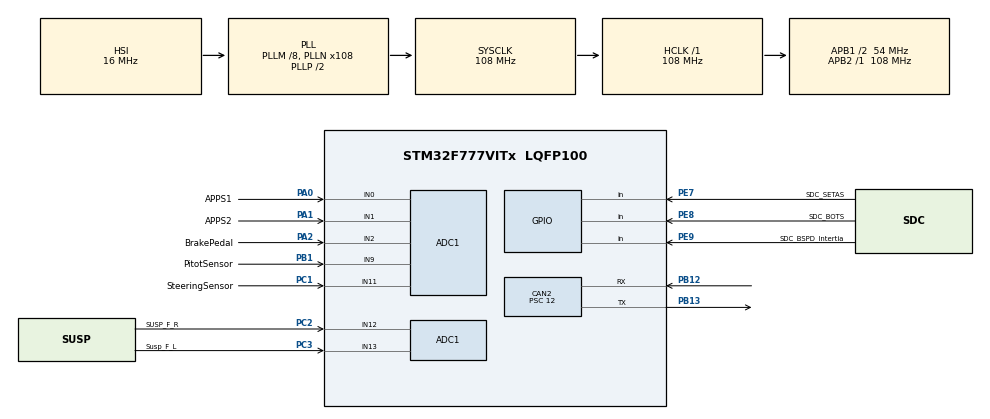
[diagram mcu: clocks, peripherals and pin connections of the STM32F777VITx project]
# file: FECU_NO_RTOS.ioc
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ADC1.Channel-0\#ChannelRegularConversion=ADC_CHANNEL_0
ADC1.Channel-1\#ChannelRegularConversion=ADC_CHANNEL_0
ADC1.Channel-2\#ChannelRegularConversion=ADC_CHANNEL_0
ADC1.Channel-3\#ChannelRegularConversion=ADC_CHANNEL_0
ADC1.Channel-4\#ChannelRegularConversion=ADC_CHANNEL_0
ADC1.Channel-5\#ChannelRegularConversion=ADC_CHANNEL_0
ADC1.Channel-6\#ChannelRegularConversion=ADC_CHANNEL_0
ADC1.ContinuousConvMode=ENABLE
ADC1.DiscontinuousConvMode=DISABLE
ADC1.NbrOfConversion=7
ADC1.NbrOfConversionFlag=1
ADC1.Rank-0\#ChannelRegularConversion=1
ADC1.Rank-1\#ChannelRegularConversion=2
ADC1.Rank-2\#ChannelRegularConversion=3
ADC1.Rank-3\#ChannelRegularConversion=4
ADC1.Rank-4\#ChannelRegularConversion=5
ADC1.Rank-5\#ChannelRegularConversion=6
ADC1.Rank-6\#ChannelRegularConversion=7
ADC1.SamplingTime-0\#ChannelRegularConversion=ADC_SAMPLETIME_3CYCLES
ADC1.SamplingTime-1\#ChannelRegularConversion=ADC_SAMPLETIME_3CYCLES
ADC1.SamplingTime-2\#ChannelRegularConversion=ADC_SAMPLETIME_3CYCLES
ADC1.SamplingTime-3\#ChannelRegularConversion=ADC_SAMPLETIME_3CYCLES
ADC1.SamplingTime-4\#ChannelRegularConversion=ADC_SAMPLETIME_3CYCLES
ADC1.SamplingTime-5\#ChannelRegularConversion=ADC_SAMPLETIME_3CYCLES
ADC1.SamplingTime-6\#ChannelRegularConversion=ADC_SAMPLETIME_3CYCLES
ADC1.ScanConvMode=ADC_SCAN_ENABLE
ADC1.master=1
CAN2.BS1=CAN_BS1_6TQ
CAN2.BS2=CAN_BS2_2TQ
CAN2.CalculateBaudRate=500000
CAN2.CalculateTimeBit=2000
CAN2.CalculateTimeQuantum=222.22222222222223
CAN2.Prescaler=12
CORTEX_M7.default_mode_Activation=1
Mcu.Family=STM32F7
Mcu.Name=STM32F777VITx
Mcu.Package=LQFP100
NVIC.CAN2_RX0_IRQn=true\:0\:0\:false\:false\:true\:true\:true\:true
NVIC.PriorityGroup=NVIC_PRIORITYGROUP_4
PA0/WKUP.GPIO_Label=APPS1
PA0/WKUP.Signal=ADCx_IN0
PA1.GPIO_Label=APPS2
PA1.Signal=ADCx_IN1
PA2.GPIO_Label=BrakePedal
PA2.Signal=ADCx_IN2
PB1.GPIO_Label=PitotSensor
PB1.Signal=ADCx_IN9
PB12.Mode=CAN_Activate
PB12.Signal=CAN2_RX
PB13.Mode=CAN_Activate
PB13.Signal=CAN2_TX
PC1.GPIO_Label=SteeringSensor
PC1.Signal=ADCx_IN11
PC2.GPIO_Label=SUSP_F_R
PC2.Signal=ADCx_IN12
PC3.GPIO_Label=Susp_F_L
PC3.Signal=ADCx_IN13
PE7.GPIO_Label=SDC_SETAS
PE7.Signal=GPIO_Input
PE8.GPIO_Label=SDC_BOTS
PE8.Signal=GPIO_Input
PE9.GPIO_Label=SDC_BSPD_Intertia
PE9.Signal=GPIO_Input
ProjectManager.HeapSize=0x200
ProjectManager.StackSize=0x400
ProjectManager.TargetToolchain=STM32CubeIDE
RCC.AHBFreq_Value=108000000
RCC.APB1CLKDivider=RCC_HCLK_DIV2
RCC.APB1Freq_Value=54000000
RCC.APB1TimFreq_Value=108000000
RCC.APB2Freq_Value=108000000
RCC.APB2TimFreq_Value=108000000
RCC.CortexFreq_Value=108000000
RCC.HCLKFreq_Value=108000000
RCC.HSE_VALUE=25000000
RCC.HSI_VALUE=16000000
RCC.LSE_VALUE=32768
RCC.PLLM=8
RCC.PLLN=108
RCC.SYSCLKFreq_VALUE=108000000
RCC.SYSCLKSource=RCC_SYSCLKSOURCE_PLLCLK
RCC.USBFreq_Value=108000000
RCC.VCOOutputFreq_Value=216000000
SH.ADCx_IN0.0=ADC1_IN0,IN0
SH.ADCx_IN1.0=ADC1_IN1,IN1
SH.ADCx_IN11.0=ADC1_IN11,IN11
SH.ADCx_IN12.0=ADC1_IN12,IN12
SH.ADCx_IN13.0=ADC1_IN13,IN13
SH.ADCx_IN2.0=ADC1_IN2,IN2
SH.ADCx_IN9.0=ADC1_IN9,IN9
board=custom

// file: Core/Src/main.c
/* USER CODE BEGIN Header */
/**
  ******************************************************************************
  * @file           : main.c
  * @brief          : Main program body
  ******************************************************************************
  * @attention
  *
  * Copyright (c) 2024 STMicroelectronics.
  * All rights reserved.
  *
  * This software is licensed under terms that can be found in the LICENSE file
  * in the root directory of this software component.
  * If no LICENSE file comes with this software, it is provided AS-IS.
  *
  ******************************************************************************
  */
/* USER CODE END Header */
#include "main.h"
#include "eTechRacingADC.h"
#include "eTechRacing_Filters.h"
#include "stdint.h"

ADC_HandleTypeDef hadc1;

CAN_HandleTypeDef hcan2;

void SystemClock_Config(void);
static void MPU_Config(void);
static void MX_GPIO_Init(void);
static void MX_ADC1_Init(void);
static void MX_CAN2_Init(void);

/* USER CODE BEGIN 0 */
uint16_t APPS1;
uint16_t APPS2;
uint16_t BrakePedal;
uint16_t SteeringSensor;
uint16_t Susp_F_R;
uint16_t Susp_F_L;
uint16_t PitotSensor;

filtreLP_struct FECULowPass = {
     .fc = 1.0,  // Cutoff frequency in kHz
     .Ts = 0.001,  // Sampling time in seconds
     .alfa = 0.0,  // Filter coefficient (will be initialized)
     .in = 0.0,  // Initial input value
     .out = 0.0,  // Initial output value
     .enable = 1  // Enable the filter
 };

/* USER CODE END 0 */

int main(void)
{

  /* MPU Configuration--------------------------------------------------------*/
  MPU_Config();

  /* MCU Configuration--------------------------------------------------------*/

  /* Reset of all peripherals, Initializes the Flash interface and the Systick. */
  HAL_Init();

  /* Configure the system clock */
  SystemClock_Config();

  /* Initialize all configured peripherals */
  MX_GPIO_Init();
  MX_ADC1_Init();
  MX_CAN2_Init();
  /* USER CODE BEGIN 2 */

  filtreLP_init(&FECULowPass);

  /* USER CODE END 2 */

  /* Infinite loop */
  while (1)
  {
	  APPS1 = ADC_Measure(hadc1, 0);
	  APPS1 = applyLowPassFilter(APPS1, &FECULowPass);

	  APPS2 = ADC_Measure(hadc1, 1);
	  APPS2 = applyLowPassFilter(APPS2, &FECULowPass);

	  BrakePedal = ADC_Measure(hadc1, 2);
	  BrakePedal = applyLowPassFilter(BrakePedal, &FECULowPass);

	  SteeringSensor = ADC_Measure(hadc1, 11);
	  SteeringSensor = applyLowPassFilter(SteeringSensor, &FECULowPass);

	  Susp_F_R = ADC_Measure(hadc1, 12);
	  Susp_F_R = applyLowPassFilter(Susp_F_L, &FECULowPass);

	  Susp_F_L = ADC_Measure(hadc1, 13);
	  Susp_F_L = applyLowPassFilter(Susp_F_L, &FECULowPass);

	  PitotSensor = ADC_Measure(hadc1, 9);
	  PitotSensor = applyLowPassFilter(PitotSensor, &FECULowPass);

  }
}

void SystemClock_Config(void)
{
  RCC_OscInitTypeDef RCC_OscInitStruct = {0};
  RCC_ClkInitTypeDef RCC_ClkInitStruct = {0};

  /** Configure the main internal regulator output voltage
  */
  __HAL_RCC_PWR_CLK_ENABLE();
  __HAL_PWR_VOLTAGESCALING_CONFIG(PWR_REGULATOR_VOLTAGE_SCALE3);

  /** Initializes the RCC Oscillators according to the specified parameters
  * in the RCC_OscInitTypeDef structure.
  */
  RCC_OscInitStruct.OscillatorType = RCC_OSCILLATORTYPE_HSI;
  RCC_OscInitStruct.HSIState = RCC_HSI_ON;
  RCC_OscInitStruct.HSICalibrationValue = RCC_HSICALIBRATION_DEFAULT;
  RCC_OscInitStruct.PLL.PLLState = RCC_PLL_ON;
  RCC_OscInitStruct.PLL.PLLSource = RCC_PLLSOURCE_HSI;
  RCC_OscInitStruct.PLL.PLLM = 8;
  RCC_OscInitStruct.PLL.PLLN = 108;
  RCC_OscInitStruct.PLL.PLLP = RCC_PLLP_DIV2;
  RCC_OscInitStruct.PLL.PLLQ = 2;
  RCC_OscInitStruct.PLL.PLLR = 2;
  if (HAL_RCC_OscConfig(&RCC_OscInitStruct) != HAL_OK)
  {
    Error_Handler();
  }

  /** Activate the Over-Drive mode
  */
  if (HAL_PWREx_EnableOverDrive() != HAL_OK)
  {
    Error_Handler();
  }

  /** Initializes the CPU, AHB and APB buses clocks
  */
  RCC_ClkInitStruct.ClockType = RCC_CLOCKTYPE_HCLK|RCC_CLOCKTYPE_SYSCLK
                              |RCC_CLOCKTYPE_PCLK1|RCC_CLOCKTYPE_PCLK2;
  RCC_ClkInitStruct.SYSCLKSource = RCC_SYSCLKSOURCE_PLLCLK;
  RCC_ClkInitStruct.AHBCLKDivider = RCC_SYSCLK_DIV1;
  RCC_ClkInitStruct.APB1CLKDivider = RCC_HCLK_DIV2;
  RCC_ClkInitStruct.APB2CLKDivider = RCC_HCLK_DIV1;

  if (HAL_RCC_ClockConfig(&RCC_ClkInitStruct, FLASH_LATENCY_3) != HAL_OK)
  {
    Error_Handler();
  }
}

static void MX_ADC1_Init(void)
{

  ADC_ChannelConfTypeDef sConfig = {0};

  /** Configure the global features of the ADC (Clock, Resolution, Data Alignment and number of conversion)
  */
  hadc1.Instance = ADC1;
  hadc1.Init.ClockPrescaler = ADC_CLOCK_SYNC_PCLK_DIV4;
  hadc1.Init.Resolution = ADC_RESOLUTION_12B;
  hadc1.Init.ScanConvMode = ADC_SCAN_ENABLE;
  hadc1.Init.ContinuousConvMode = ENABLE;
  hadc1.Init.DiscontinuousConvMode = DISABLE;
  hadc1.Init.ExternalTrigConvEdge = ADC_EXTERNALTRIGCONVEDGE_NONE;
  hadc1.Init.ExternalTrigConv = ADC_SOFTWARE_START;
  hadc1.Init.DataAlign = ADC_DATAALIGN_RIGHT;
  hadc1.Init.NbrOfConversion = 7;
  hadc1.Init.DMAContinuousRequests = DISABLE;
  hadc1.Init.EOCSelection = ADC_EOC_SINGLE_CONV;
  if (HAL_ADC_Init(&hadc1) != HAL_OK)
  {
    Error_Handler();
  }

  /** Configure for the selected ADC regular channel its corresponding rank in the sequencer and its sample time.
  */
  sConfig.Channel = ADC_CHANNEL_0;
  sConfig.Rank = ADC_REGULAR_RANK_1;
  sConfig.SamplingTime = ADC_SAMPLETIME_3CYCLES;
  if (HAL_ADC_ConfigChannel(&hadc1, &sConfig) != HAL_OK)
  {
    Error_Handler();
  }

  /** Configure for the selected ADC regular channel its corresponding rank in the sequencer and its sample time.
  */
  sConfig.Rank = ADC_REGULAR_RANK_2;
  if (HAL_ADC_ConfigChannel(&hadc1, &sConfig) != HAL_OK)
  {
    Error_Handler();
  }

  /** Configure for the selected ADC regular channel its corresponding rank in the sequencer and its sample time.
  */
  sConfig.Rank = ADC_REGULAR_RANK_3;
  if (HAL_ADC_ConfigChannel(&hadc1, &sConfig) != HAL_OK)
  {
    Error_Handler();
  }

  /** Configure for the selected ADC regular channel its corresponding rank in the sequencer and its sample time.
  */
  sConfig.Rank = ADC_REGULAR_RANK_4;
  if (HAL_ADC_ConfigChannel(&hadc1, &sConfig) != HAL_OK)
  {
    Error_Handler();
  }

  /** Configure for the selected ADC regular channel its corresponding rank in the sequencer and its sample time.
  */
  sConfig.Rank = ADC_REGULAR_RANK_5;
  if (HAL_ADC_ConfigChannel(&hadc1, &sConfig) != HAL_OK)
  {
    Error_Handler();
  }

  /** Configure for the selected ADC regular channel its corresponding rank in the sequencer and its sample time.
  */
  sConfig.Rank = ADC_REGULAR_RANK_6;
  if (HAL_ADC_ConfigChannel(&hadc1, &sConfig) != HAL_OK)
  {
    Error_Handler();
  }

  /** Configure for the selected ADC regular channel its corresponding rank in the sequencer and its sample time.
  */
  sConfig.Rank = ADC_REGULAR_RANK_7;
  if (HAL_ADC_ConfigChannel(&hadc1, &sConfig) != HAL_OK)
  {
    Error_Handler();
  }

}

static void MX_CAN2_Init(void)
{

  hcan2.Instance = CAN2;
  hcan2.Init.Prescaler = 12;
  hcan2.Init.Mode = CAN_MODE_NORMAL;
  hcan2.Init.SyncJumpWidth = CAN_SJW_1TQ;
  hcan2.Init.TimeSeg1 = CAN_BS1_6TQ;
  hcan2.Init.TimeSeg2 = CAN_BS2_2TQ;
  hcan2.Init.TimeTriggeredMode = DISABLE;
  hcan2.Init.AutoBusOff = DISABLE;
  hcan2.Init.AutoWakeUp = DISABLE;
  hcan2.Init.AutoRetransmission = DISABLE;
  hcan2.Init.ReceiveFifoLocked = DISABLE;
  hcan2.Init.TransmitFifoPriority = DISABLE;
  if (HAL_CAN_Init(&hcan2) != HAL_OK)
  {
    Error_Handler();
  }

}

static void MX_GPIO_Init(void)
{
  GPIO_InitTypeDef GPIO_InitStruct = {0};

  /* GPIO Ports Clock Enable */
  __HAL_RCC_GPIOC_CLK_ENABLE();
  __HAL_RCC_GPIOA_CLK_ENABLE();
  __HAL_RCC_GPIOB_CLK_ENABLE();
  __HAL_RCC_GPIOE_CLK_ENABLE();

  /*Configure GPIO pins : SDC_SETAS_Pin SDC_BOTS_Pin SDC_BSPD_Intertia_Pin */
  GPIO_InitStruct.Pin = SDC_SETAS_Pin|SDC_BOTS_Pin|SDC_BSPD_Intertia_Pin;
  GPIO_InitStruct.Mode = GPIO_MODE_INPUT;
  GPIO_InitStruct.Pull = GPIO_NOPULL;
  HAL_GPIO_Init(GPIOE, &GPIO_InitStruct);

}

 /* MPU Configuration */

void MPU_Config(void)
{
  MPU_Region_InitTypeDef MPU_InitStruct = {0};

  /* Disables the MPU */
  HAL_MPU_Disable();

  /** Initializes and configures the Region and the memory to be protected
  */
  MPU_InitStruct.Enable = MPU_REGION_ENABLE;
  MPU_InitStruct.Number = MPU_REGION_NUMBER0;
  MPU_InitStruct.BaseAddress = 0x0;
  MPU_InitStruct.Size = MPU_REGION_SIZE_4GB;
  MPU_InitStruct.SubRegionDisable = 0x87;
  MPU_InitStruct.TypeExtField = MPU_TEX_LEVEL0;
  MPU_InitStruct.AccessPermission = MPU_REGION_NO_ACCESS;
  MPU_InitStruct.DisableExec = MPU_INSTRUCTION_ACCESS_DISABLE;
  MPU_InitStruct.IsShareable = MPU_ACCESS_SHAREABLE;
  MPU_InitStruct.IsCacheable = MPU_ACCESS_NOT_CACHEABLE;
  MPU_InitStruct.IsBufferable = MPU_ACCESS_NOT_BUFFERABLE;

  HAL_MPU_ConfigRegion(&MPU_InitStruct);
  /* Enables the MPU */
  HAL_MPU_Enable(MPU_PRIVILEGED_DEFAULT);

}

void Error_Handler(void)
{
  __disable_irq();
  while (1)
  {
  }
}
